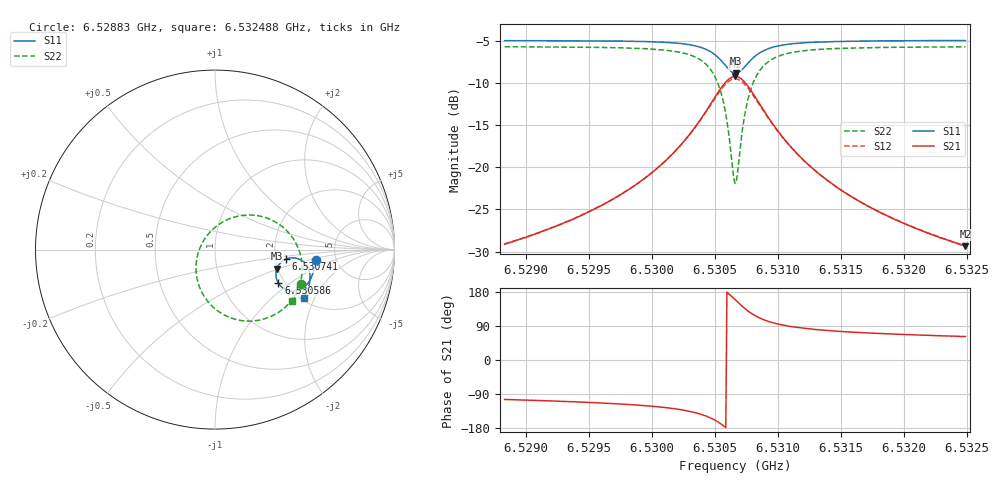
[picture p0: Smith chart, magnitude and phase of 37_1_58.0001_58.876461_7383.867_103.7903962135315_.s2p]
#  HZ  S  RI  R  50.00
! Rohde & Schwarz Vector Network Analyzer
! Rohde-Schwarz,ZNB20-2Port,1311601062101988,3.16
! Created: UTC 3/21/2024, 12:51:55 AM
! freq[Hz]  re:S11  im:S11  re:S21  im:S21  re:S12  im:S12  re:S22  im:S22
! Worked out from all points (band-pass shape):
!   401 points, 6.52883 GHz to 6.532488 GHz, reference 50 ohm
!   highest |S21| = -9.22 dB at 6.530659 GHz (marker M1); lowest = -29.4 dB at 6.532488 GHz (marker M2)
!   |S21| within 3 dB of the highest: 6.530477 GHz to 6.530843 GHz (366.3 kHz wide, 0.00561 % of centre)
!   lowest |S11| = -8.9 dB at 6.530668 GHz (marker M3), VSWR 2.13, Z = 98.8 - j24 ohm
!   |S11| at or under -10 dB: nowhere
!   |S22| runs from -21.9 to -5.7 dB; largest |S21 - S12| = 0.015
!   S11 on the Smith chart (normalised r, x): 6.52883 GHz: 3.47, -0.61; 6.530586 GHz: 1.85, -0.83; 6.530741 GHz: 2.28, -0.29; 6.532488 GHz: 2.08, -1.66
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6.5288298e9  0.5607 -0.0595  -0.00855 -0.0339  -0.00927 -0.0338  0.4818 -0.1921
6.5294426e9  0.5512 -0.1127  -0.0189 -0.0485  -0.0201 -0.0481  0.4489 -0.2537
6.5297718e9  0.5408 -0.1456  -0.0315 -0.0628  -0.0333 -0.0624  0.4158 -0.2967
6.5300553e9  0.5235 -0.1793  -0.056 -0.0838  -0.0585 -0.0822  0.3603 -0.3453
6.5302748e9  0.4932 -0.2114  -0.1033 -0.1074  -0.1066 -0.1034  0.265 -0.3888
6.5304303e9  0.4434 -0.2309  -0.183 -0.1142  -0.1859 -0.106  0.1188 -0.3898
6.5305217e9  0.3918 -0.2219  -0.2641 -0.0807  -0.2624 -0.0686  -0.0149 -0.3162
6.5305583e9  0.3685 -0.2059  -0.2988 -0.046  -0.2937 -0.0335  -0.0665 -0.2503
6.5305858e9  0.3532 -0.1871  -0.3204 -0.009  -0.3121 0.0027  -0.0946 -0.1841
6.5306406e9  0.3393 -0.1344  -0.3326 0.0876  -0.3195 0.0942  -0.0949 -0.0224
6.5306589e9  0.3421 -0.115  -0.3238 0.1213  -0.3103 0.1257  -0.074 0.0313
6.5306681e9  0.3451 -0.1057  -0.3171 0.1377  -0.3035 0.1406  -0.0595 0.0564
6.5306864e9  0.3538 -0.0882  -0.2988 0.1674  -0.2858 0.1681  -0.0241 0.1016
6.5307046e9  0.3656 -0.0734  -0.2759 0.1924  -0.2638 0.191  0.0182 0.1383
6.5307412e9  0.3946 -0.0535  -0.2223 0.2254  -0.2132 0.2214  0.1123 0.1825
6.5308052e9  0.4449 -0.0467  -0.1342 0.2359  -0.1297 0.2317  0.2616 0.1841
6.5308967e9  0.4914 -0.0668  -0.0551 0.2047  -0.0532 0.2021  0.3906 0.114
6.5310339e9  0.52 -0.1047  -0.00639 0.152  -0.00525 0.1511  0.4642 0.00715
6.5312717e9  0.5298 -0.1516  0.0149 0.0978  0.0162 0.0975  0.4857 -0.1051
6.5315369e9  0.5266 -0.187  0.0188 0.0679  0.0196 0.0677  0.4784 -0.1733
6.5318844e9  0.5171 -0.2219  0.0183 0.0475  0.0192 0.0471  0.4611 -0.2281
6.532488e9  0.4963 -0.2709  0.0161 0.0301  0.0167 0.0299  0.4299 -0.2891
